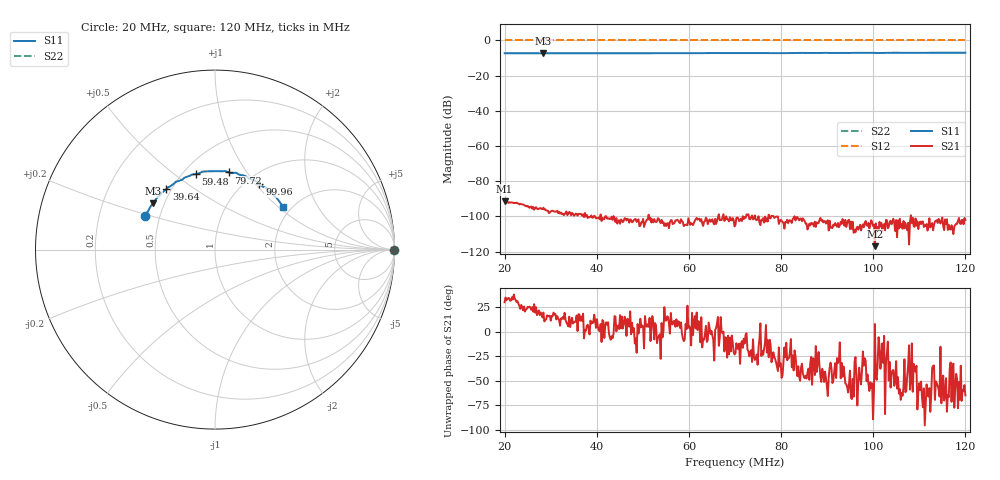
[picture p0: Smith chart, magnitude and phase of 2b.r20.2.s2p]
! Anritsu VNA Master:  Model: MS2036C/10/77
! SN:  1601066
! /card0/usr/18may27.balun/252b.r20.2.s2p
! Existing Calibration Information:
! TYPE:  Current Settings,  Active Cal Settings
! TIME:  05/27/2018 12:32:58 PM,  05/27/2018 12:21:44 PM
! INTERNAL TEMP:  53.5 C,  53.3 C
! # POINTS:  500,  500
! START FREQ:  20.000 MHz,  20.000 MHz
! STOP FREQ:  120.000 MHz,  120.000 MHz
! SOURCE POWER:  High,  High
! IFBW:  50 Hz,  50 Hz
! AVG FACTOR:  1 ,  1
! REF PLANE 1:  0 mm,  0 mm
! REF PLANE 2:  0 mm,  0 mm
! CAL TYPE:  Full S11,  Full S11
! CAL METHOD:  SOLT,  SOLT
! CAL LINE TYPE:  Coax,  Coax
! DUT PORT 1:  K-Conn(M),  K-Conn(M)
! DUT PORT 2:  K-Conn(M),  K-Conn(M)
! CAL STATUS:  OK: Accuracy High,  --
# GHZ S DB R 50.0
! FREQ.GHZ  S11DB  S11A  S21DB  S21A  S12DB  S12A  S22DB  S22A
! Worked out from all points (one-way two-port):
!   500 points, 20 MHz to 120 MHz, reference 50 ohm
!   highest |S21| = -91.33 dB at 20 MHz (marker M1); lowest = -116.9 dB at 100.4 MHz (marker M2)
!   lowest |S11| = -7.3 dB at 28.42 MHz (marker M3), VSWR 2.50, Z = 21.8 + j13.7 ohm
!   |S11| at or under -10 dB: nowhere
!   |S22| runs from 0.0 to 0.0 dB; largest |S21 - S12| = 1
!   S11 on the Smith chart (normalised r, x): 20 MHz: 0.41, +0.19; 39.64 MHz: 0.47, +0.39; 59.48 MHz: 0.58, +0.60; 79.72 MHz: 0.78, +0.83; 99.96 MHz: 1.15, +1.05; 120 MHz: 1.81, +1.08
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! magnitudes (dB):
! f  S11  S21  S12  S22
! 20 MHz  -7.3  -91.3  0.0  0.0
! 28.42 MHz  -7.3  -95.1  0.0  0.0
! 36.83 MHz  -7.3  -99.6  0.0  0.0
! 39.64 MHz  -7.3  -100.0  0.0  0.0
! 44.65 MHz  -7.3  -102.5  0.0  0.0
! 46.65 MHz  -7.2  -101.3  0.0  0.0
! 50.26 MHz  -7.3  -106.0  0.0  0.0
! 53.47 MHz  -7.2  -101.5  0.0  0.0
! 57.47 MHz  -7.2  -101.9  0.0  0.0
! 59.48 MHz  -7.2  -104.7  0.0  0.0
! 63.69 MHz  -7.1  -100.7  0.0  0.0
! 70.1 MHz  -7.2  -104.9  0.0  0.0
! 77.11 MHz  -7.1  -102.9  0.0  0.0
! 79.72 MHz  -7.2  -102.7  0.0  0.0
! 80.92 MHz  -7.2  -103.2  0.0  0.0
! 83.53 MHz  -7.1  -100.3  0.0  0.0
! 86.73 MHz  -7.1  -104.1  0.0  0.0
! 97.96 MHz  -7.0  -106.2  0.0  0.0
! 99.96 MHz  -7.1  -105.5  0.0  0.0
! 100.4 MHz  -7.1  -116.9  0.0  0.0
! 103.4 MHz  -7.0  -105.8  0.0  0.0
! 120 MHz  -7.0  -102.0  0.0  0.0
